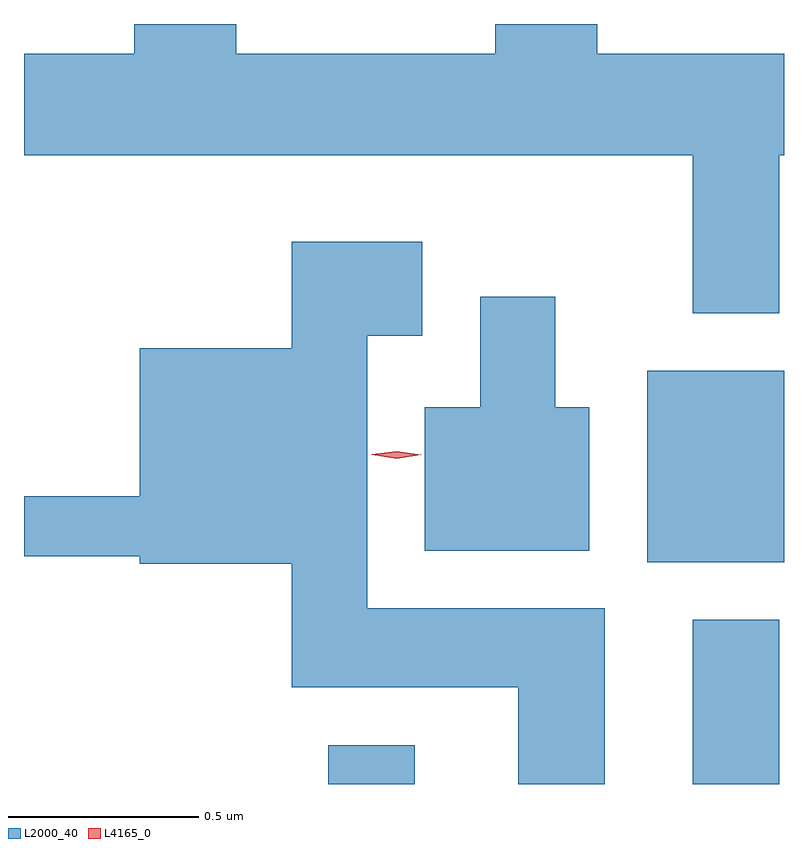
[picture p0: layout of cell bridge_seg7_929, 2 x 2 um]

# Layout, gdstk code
import gdstk
lib = gdstk.Library(unit=1e-6, precision=1e-09)
def R(c, l, rs):  # rectangles x0, y0, x1, y1
    for r in rs: c.add(gdstk.rectangle(r[:2], r[2:], *l))
def P(c, l, *ps):  # polygons
    for p in ps: c.add(gdstk.Polygon(p, *l))
L2000_40 = (2000, 40)
L4165_0 = (4165, 0)

bridge_seg7_929 = lib.new_cell('bridge_seg7_929')
R(bridge_seg7_929, L2000_40, [(523.601,1692.682,523.829,1692.784), (524.561,1692.682,524.789,1693.114), (524.441,1693.266,524.801,1693.769)])
P(bridge_seg7_929, L2000_40, [(524.789,1694.336),(524.801,1694.336),(524.801,1694.604),(524.309,1694.604),(524.309,1694.682),(524.041,1694.682),(524.041,1694.604),(523.359,1694.604),(523.359,1694.682),(523.091,1694.682),(523.091,1694.604),(522.801,1694.604),(522.801,1694.336),(524.561,1694.336),(524.561,1693.921),(524.789,1693.921)],
  [(524.329,1693.144),(523.704,1693.144),(523.704,1693.861),(523.849,1693.861),(523.849,1694.109),(523.506,1694.109),(523.506,1693.829),(523.106,1693.829),(523.106,1693.439),(522.801,1693.439),(522.801,1693.281),(523.106,1693.281),(523.106,1693.261),(523.506,1693.261),(523.506,1692.936),(524.101,1692.936),(524.101,1692.682),(524.329,1692.682)],
  [(524.289,1693.674),(524.199,1693.674),(524.199,1693.964),(524.001,1693.964),(524.001,1693.674),(523.856,1693.674),(523.856,1693.296),(524.289,1693.296)])
P(bridge_seg7_929, L4165_0, [(523.782,1693.538),(523.716,1693.548),(523.716,1693.549),(523.716,1693.55),(523.782,1693.558),(523.847,1693.548),(523.848,1693.548),(523.847,1693.548)])

lib.write_gds('bridge_seg7_929.gds')
